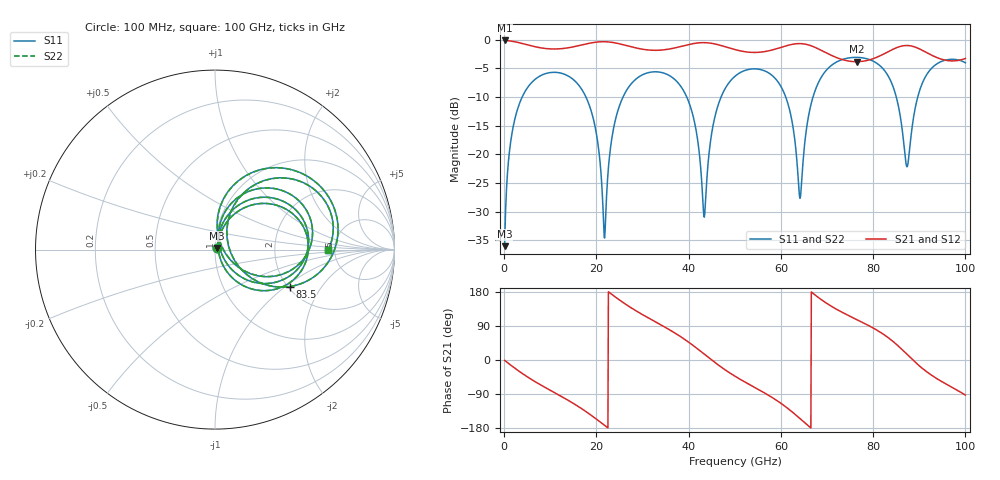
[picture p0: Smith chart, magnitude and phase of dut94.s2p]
! Touchstone file exported from HFSS 2026.1.0
!  File:  C:/ffzhzh/LocalFiles/Ansys_Project_Files/temp_train_TSV_RDL_94_1783454177_28540.aedt
!  Generated:  04:05:33 AM Jul  8, 2026
!  Design:  TSV_RDL
!  Project:  temp_train_TSV_RDL_94_1783454177_28540
! Variables:
!  h_bsmrdl = 3.57um
!  h_ox = 20um
!  h_rdl = 5um
!  h_sub = 92.37um
!  h_tmrdl = 4.7um
!  h_tsv = 92.37um
!  h_via = 3um
!  l_bsmrdl = 186.64um
!  l_sub = 2365.61um
!  l_tmrdl = 330.58um
!  m_sub = 200um
!  pitch = 52.79um
!  r_tsv = 11.76um
!  s_tmrdl = 10um
!  w_bsmrdl = 10.35um
!  w_sub = 500um
!  w_tmrdl = 17.44um
!  x_tsv_center1 = 339.3um
!  x_tsv_center2 = 536.29um
!  x_tsv_center3 = 884.31um
!  x_tsv_center4 = 1081.3um
!  x_tsv_center5 = 1429.32um
!  x_tsv_center6 = 1626.31um
# GHz S MA R 50.000000
! Terminal data exported
! Port[1] = TM_RDL1_1_T1
! Port[2] = TM_RDL5_1_T1
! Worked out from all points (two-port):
!   1000 points, 100 MHz to 100 GHz, reference 50 ohm
!   highest |S21| = -0.11 dB at 100 MHz (marker M1); lowest = -3.8 dB at 76.4 GHz (marker M2)
!   |S21| within 3 dB of the highest: start of sweep to 72.11 GHz; 80.58 GHz to 93.86 GHz (13.28 GHz wide, 15.2 % of centre)
!   lowest |S11| = -36.0 dB at 100 MHz (marker M3), VSWR 1.03, Z = 51.3 + j0.977 ohm
!   |S11| at or under -10 dB: 17.74 GHz to 25.76 GHz (8.018 GHz wide, 36.9 % of centre); 39.6 GHz to 47.02 GHz (7.423 GHz wide, 17.1 % of centre); 61.05 GHz to 66.95 GHz (5.899 GHz wide, 9.22 % of centre) (the widest 3 of 5)
!   |S22| runs from -36.0 to -3.1 dB; largest |S21 - S12| = 7.7e-14
!   S11 on the Smith chart (normalised r, x): 100 MHz: 1.03, +0.02; 83.5 GHz: 2.05, -1.07; 100 GHz: 4.41, -0.02
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0.1  0.01582 37.0  0.9875 -1.0  0.9875 -1.0  0.01582 37.0
! Gamma 0 0 0 0
! Port Impedance 50 0 50 0
1.6  0.1447 68.6  0.9735 -15.1  0.9735 -15.1  0.1447 68.5
4.5  0.3522 46.5  0.9159 -40.3  0.9159 -40.3  0.3522 46.5
10.7  0.5206 3.7  0.8319 -84.7  0.8319 -84.7  0.5206 3.7
16.8  0.3708 -38.0  0.9018 -128.4  0.9018 -128.4  0.3708 -38.0
19.8  0.1678 -59.8  0.9528 -154.1  0.9528 -154.1  0.1678 -59.8
21.8  0.01866 18.1  0.9627 -172.6  0.9627 -172.6  0.01855 18.1
25.2  0.2794 62.1  0.9191 156.7  0.9191 156.7  0.2793 62.2
33.4  0.5246 6.0  0.811 96.7  0.811 96.7  0.5245 6.0
40.1  0.2818 -40.1  0.9112 46.1  0.9112 46.1  0.2817 -40.1
43.4  0.02835 19.7  0.9451 15.4  0.9451 15.4  0.02817 20.0
45.8  0.2219 74.8  0.9185 -7.4  0.9185 -7.4  0.2219 74.9
50.1  0.4829 44.3  0.8206 -43.2  0.8206 -43.2  0.483 44.3
59.9  0.3986 -20.2  0.8561 -113.4  0.8561 -113.4  0.3986 -20.0
64.1  0.04149 16.9  0.9271 -154.2  0.9271 -154.2  0.04274 17.4
66.7  0.2909 80.3  0.8828 178.6  0.8828 178.6  0.2912 80.0
76.4  0.703 17.2  0.6443 107.0  0.6443 107.0  0.7031 17.2
83.4  0.4725 -25.6  0.793 57.7  0.793 57.7  0.4727 -25.6
83.5  0.4644 -26.3  0.7968 56.8  0.7968 56.8  0.4645 -26.3
87.4  0.07827 20.1  0.8924 14.3  0.8924 14.3  0.07953 19.9
91.5  0.4888 53.1  0.7773 -30.0  0.7773 -30.0  0.489 52.9
100  0.6305 -0.1  0.6877 -92.7  0.6877 -92.7  0.6304 -0.3
